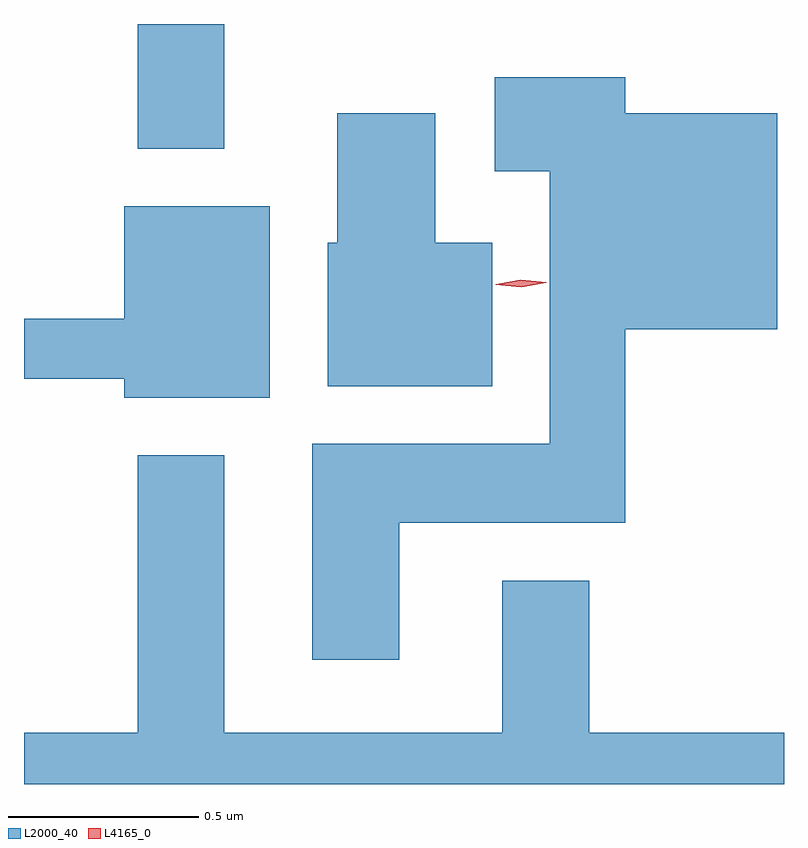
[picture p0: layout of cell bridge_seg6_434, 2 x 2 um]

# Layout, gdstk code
import gdstk
lib = gdstk.Library(unit=1e-6, precision=1e-09)
def R(c, l, rs):  # rectangles x0, y0, x1, y1
    for r in rs: c.add(gdstk.rectangle(r[:2], r[2:], *l))
def P(c, l, *ps):  # polygons
    for p in ps: c.add(gdstk.Polygon(p, *l))
L2000_40 = (2000, 40)
L4165_0 = (4165, 0)

bridge_seg6_434 = lib.new_cell('bridge_seg6_434')
R(bridge_seg6_434, L2000_40, [(918.691,1645.081,918.919,1645.409)])
P(bridge_seg6_434, L2000_40, [(919.379,1644.096),(919.974,1644.096),(919.974,1644.606),(920.374,1644.606),(920.374,1645.174),(919.974,1645.174),(919.974,1645.269),(919.631,1645.269),(919.631,1645.021),(919.776,1645.021),(919.776,1644.304),(919.151,1644.304),(919.151,1643.736),(919.379,1643.736)],
  [(919.624,1644.834),(919.474,1644.834),(919.474,1645.174),(919.216,1645.174),(919.216,1644.834),(919.191,1644.834),(919.191,1644.456),(919.624,1644.456)],
  [(919.039,1644.929),(918.656,1644.929),(918.656,1644.634),(918.392,1644.634),(918.392,1644.476),(918.656,1644.476),(918.656,1644.426),(919.039,1644.426)],
  [(920.392,1643.544),(919.879,1643.544),(919.879,1643.944),(919.651,1643.944),(919.651,1643.544),(918.919,1643.544),(918.919,1644.274),(918.691,1644.274),(918.691,1643.544),(918.392,1643.544),(918.392,1643.409),(920.392,1643.409)])
P(bridge_seg6_434, L4165_0, [(919.7,1644.716),(919.633,1644.723),(919.633,1644.723),(919.633,1644.724),(919.699,1644.736),(919.766,1644.729),(919.766,1644.728),(919.766,1644.728)])

lib.write_gds('bridge_seg6_434.gds')
